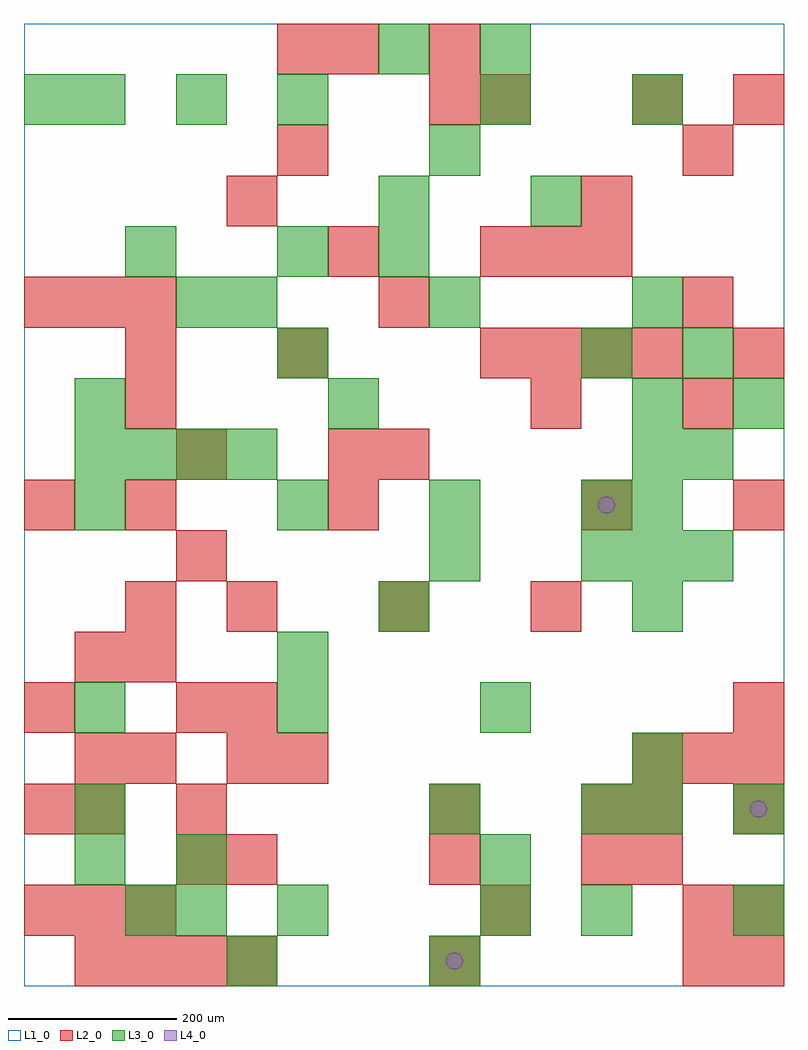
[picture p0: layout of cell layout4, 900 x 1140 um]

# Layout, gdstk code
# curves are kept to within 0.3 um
import gdstk
lib = gdstk.Library(unit=1e-6, precision=1e-09)
def R(c, l, rs):  # rectangles x0, y0, x1, y1
    for r in rs: c.add(gdstk.rectangle(r[:2], r[2:], *l))
def A(c, l, x, y, w, h, nx, ny, dx, dy):  # array of equal rectangles
    R(c, l, [(x+i*dx, y+j*dy, x+i*dx+w, y+j*dy+h) for i in range(nx) for j in range(ny)])
def P(c, l, *ps):  # polygons
    for p in ps: c.add(gdstk.Polygon(p, *l))
L1_0 = (1, 0)
L2_0 = (2, 0)
L3_0 = (3, 0)
L4_0 = (4, 0)

layout4 = lib.new_cell('layout4')
R(layout4, L1_0, [(0,0,900,1140)])
A(layout4, L2_0, 60, 0, 60, 60, 4, 1, 60, 0)
A(layout4, L2_0, 0, 60, 60, 60, 3, 2, 60, 720)
A(layout4, L2_0, 840, 60, 60, 60, 1, 3, 0, 120)
A(layout4, L2_0, 660, 180, 60, 60, 1, 3, 0, 360)
A(layout4, L2_0, 720, 240, 60, 60, 3, 1, 60, 0)
A(layout4, L2_0, 120, 420, 60, 60, 1, 3, 0, 120)
A(layout4, L2_0, 240, 420, 60, 60, 3, 1, 180, 0)
A(layout4, L2_0, 360, 600, 60, 60, 1, 3, 0, 240)
A(layout4, L2_0, 540, 720, 60, 60, 4, 1, 60, 0)
A(layout4, L2_0, 540, 840, 60, 60, 3, 1, 60, 0)
R(layout4, L2_0, [(480,0,540,60), (780,0,840,60), (840,0,900,60), (540,60,600,120), (780,60,840,120), (180,120,240,180), (240,120,300,180), (480,120,540,180), (660,120,720,180), (720,120,780,180), (0,180,60,240), (60,180,120,240), (180,180,240,240), (480,180,540,240), (720,180,780,240), (60,240,120,300), (120,240,180,300), (240,240,300,300), (300,240,360,300), (0,300,60,360), (180,300,240,360), (240,300,300,360), (60,360,120,420), (120,360,180,420), (180,480,240,540), (0,540,60,600), (360,540,420,600), (840,540,900,600), (180,600,240,660), (420,600,480,660), (600,660,660,720), (780,660,840,720), (120,720,180,780), (300,720,360,780), (840,720,900,780), (420,780,480,840), (780,780,840,840), (240,900,300,960), (300,960,360,1020), (780,960,840,1020), (480,1020,540,1080), (540,1020,600,1080), (720,1020,780,1080), (840,1020,900,1080), (300,1080,360,1140), (480,1080,540,1140)])
A(layout4, L3_0, 60, 300, 60, 60, 3, 1, 240, 0)
A(layout4, L3_0, 660, 480, 60, 60, 3, 1, 60, 0)
A(layout4, L3_0, 300, 540, 60, 60, 3, 1, 180, 0)
A(layout4, L3_0, 720, 540, 60, 60, 1, 3, 0, 60)
A(layout4, L3_0, 60, 600, 60, 60, 4, 1, 60, 0)
A(layout4, L3_0, 240, 780, 60, 60, 3, 1, 240, 0)
A(layout4, L3_0, 60, 1020, 60, 60, 3, 1, 120, 0)
R(layout4, L3_0, [(240,0,300,60), (480,0,540,60), (120,60,180,120), (180,60,240,120), (300,60,360,120), (540,60,600,120), (660,60,720,120), (840,60,900,120), (60,120,120,180), (180,120,240,180), (540,120,600,180), (60,180,120,240), (480,180,540,240), (660,180,720,240), (720,180,780,240), (840,180,900,240), (720,240,780,300), (300,360,360,420), (420,420,480,480), (720,420,780,480), (480,480,540,540), (60,540,120,600), (780,600,840,660), (60,660,120,720), (360,660,420,720), (840,660,900,720), (300,720,360,780), (660,720,720,780), (780,720,840,780), (180,780,240,840), (120,840,180,900), (300,840,360,900), (420,840,480,900), (420,900,480,960), (600,900,660,960), (480,960,540,1020), (0,1020,60,1080), (540,1020,600,1080), (720,1020,780,1080), (420,1080,480,1140), (540,1080,600,1140)])
P(layout4, L4_0, [(520,30),(519.239,33.827),(517.071,37.071),(513.827,39.239),(510,40),(506.173,39.239),(502.929,37.071),(500.761,33.827),(500,30),(500.761,26.173),(502.929,22.929),(506.173,20.761),(510,20),(513.827,20.761),(517.071,22.929),(519.239,26.173)],
  [(700,570),(699.239,573.827),(697.071,577.071),(693.827,579.239),(690,580),(686.173,579.239),(682.929,577.071),(680.761,573.827),(680,570),(680.761,566.173),(682.929,562.929),(686.173,560.761),(690,560),(693.827,560.761),(697.071,562.929),(699.239,566.173)],
  [(880,210),(879.239,213.827),(877.071,217.071),(873.827,219.239),(870,220),(866.173,219.239),(862.929,217.071),(860.761,213.827),(860,210),(860.761,206.173),(862.929,202.929),(866.173,200.761),(870,200),(873.827,200.761),(877.071,202.929),(879.239,206.173)])

lib.write_gds('layout4.gds')
